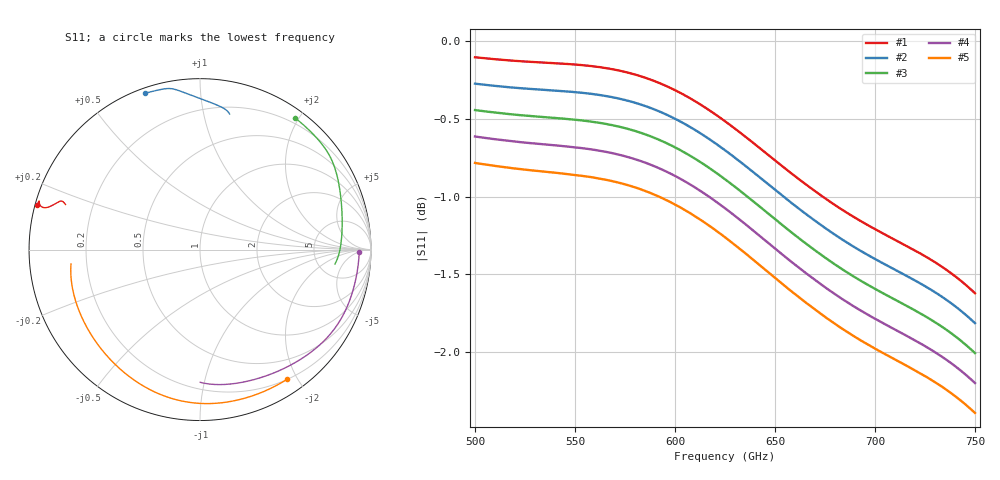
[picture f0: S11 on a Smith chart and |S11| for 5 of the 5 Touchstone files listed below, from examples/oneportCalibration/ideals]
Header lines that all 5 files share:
# GHz S RI R 50.0
!freq	ReS11	ImS11
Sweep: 500 GHz to 750 GHz
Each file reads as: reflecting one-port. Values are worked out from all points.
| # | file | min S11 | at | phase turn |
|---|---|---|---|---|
| 1 | ds1.s1p | -1.6 dB | 750 GHz | -3 deg |
| 2 | ds2.s1p | -1.8 dB | 750 GHz | -32 deg |
| 3 | ds3.s1p | -2.0 dB | 750 GHz | -60 deg |
| 4 | ds4.s1p | -2.2 dB | 750 GHz | -89 deg |
| 5 | ds5.s1p | -2.4 dB | 750 GHz | -118 deg |
